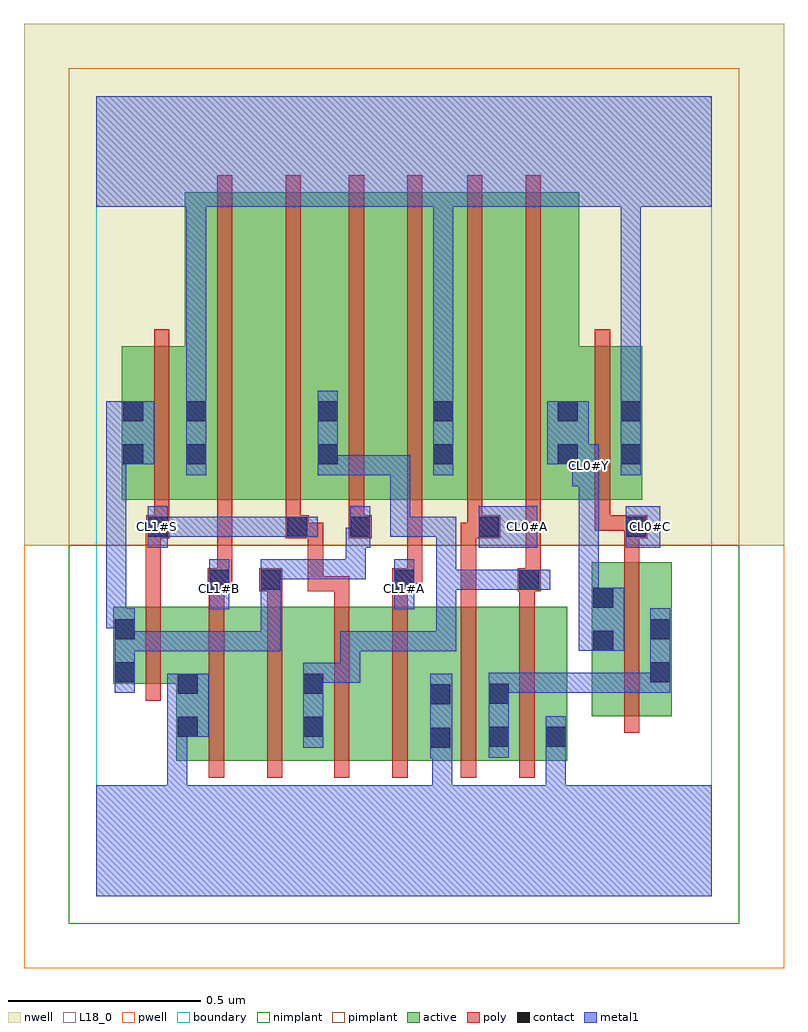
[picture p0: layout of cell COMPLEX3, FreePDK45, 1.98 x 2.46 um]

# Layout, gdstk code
import gdstk
lib = gdstk.Library(unit=1e-6, precision=1e-09)
def R(c, l, rs):  # rectangles x0, y0, x1, y1
    for r in rs: c.add(gdstk.rectangle(r[:2], r[2:], *l))
active = (1, 0)
pwell = (2, 0)
nwell = (3, 0)
nimplant = (4, 0)
pimplant = (5, 0)
poly = (9, 0)
contact = (10, 0)
metal1 = (11, 0)
L18_0 = (18, 0)
boundary = (235, 0)

complex3 = lib.new_cell('COMPLEX3')
R(complex3, active, [(0.208,0.352,0.268,0.752), (0.208,0.352,0.388,0.752), (0.388,0.352,0.594,0.752), (0.534,0.352,0.714,0.752), (0.714,0.352,0.924,0.752), (0.864,0.352,1.076,0.752), (0.864,0.352,0.924,0.554), (1.016,0.352,1.224,0.752), (1.164,0.352,1.224,0.474), (0.534,0.356,0.594,0.582), (1.016,0.356,1.076,0.556), (1.288,0.468,1.348,0.868), (1.288,0.468,1.496,0.868), (1.436,0.468,1.496,0.868), (0.044,0.552,0.104,0.752), (0.044,0.552,0.268,0.752), (0.066,1.03,0.126,1.356), (0.066,1.03,0.29,1.43), (0.23,1.03,0.436,1.83), (0.23,1.03,0.29,1.83), (0.436,1.03,0.632,1.83), (0.572,1.03,0.632,1.724), (0.572,1.03,0.752,1.83), (0.752,1.03,0.932,1.83), (0.872,1.03,1.06,1.83), (0.872,1.03,0.932,1.756), (1.06,1.03,1.256,1.83), (1.196,1.03,1.42,1.43), (1.196,1.03,1.256,1.724), (1.36,1.03,1.42,1.356)])
R(complex3, pwell, [(-0.188,-0.188,1.788,0.912)])
R(complex3, nwell, [(-0.188,0.912,1.788,2.268)])
R(complex3, nimplant, [(-0.072,-0.072,1.672,0.912)])
R(complex3, pimplant, [(-0.072,0.912,1.672,2.152)])
R(complex3, poly, [(0.292,0.308,0.332,0.796), (0.444,0.308,0.484,0.796), (0.618,0.308,0.658,0.796), (0.77,0.308,0.81,0.796), (0.948,0.308,0.988,0.796), (1.1,0.308,1.14,0.796), (1.372,0.424,1.412,0.912), (0.128,0.508,0.168,0.796), (0.128,0.756,0.168,0.97), (0.292,0.756,0.332,0.832), (0.444,0.756,0.484,0.832), (0.618,0.756,0.658,0.832), (0.77,0.756,0.81,0.832), (0.948,0.756,0.988,0.97), (1.1,0.756,1.14,0.832), (0.29,0.792,0.35,0.852), (0.424,0.792,0.484,0.852), (0.55,0.792,0.59,0.832), (0.55,0.792,0.59,0.97), (0.55,0.792,0.658,0.832), (0.618,0.792,0.658,0.832), (0.77,0.792,0.83,0.852), (1.096,0.792,1.156,0.852), (0.31,0.812,0.35,0.852), (0.31,0.812,0.354,0.852), (0.314,0.812,0.354,1.026), (0.79,0.812,0.83,0.852), (0.79,0.812,0.848,0.852), (0.808,0.812,0.848,1.026), (1.116,0.812,1.156,0.99), (1.372,0.872,1.412,0.97), (0.128,0.93,0.17,0.97), (0.13,0.93,0.17,0.97), (0.13,0.93,0.19,0.99), (0.492,0.93,0.552,0.99), (0.512,0.93,0.59,0.97), (0.55,0.93,0.59,0.97), (0.656,0.93,0.716,0.99), (0.948,0.93,1.004,0.97), (0.964,0.93,1.004,0.97), (0.964,0.93,1.05,0.99), (1.372,0.93,1.432,0.99), (0.15,0.95,0.19,1.026), (0.492,0.95,0.532,1.026), (0.656,0.95,0.696,1.026), (0.964,0.95,1.004,1.026), (1.116,0.95,1.156,1.026), (1.116,0.95,1.156,0.99), (1.296,0.95,1.336,1.026), (1.296,0.95,1.412,0.99), (1.372,0.95,1.412,0.99), (0.15,0.986,0.19,1.474), (0.314,0.986,0.354,1.874), (0.492,0.986,0.532,1.874), (0.656,0.986,0.696,1.874), (0.808,0.986,0.848,1.874), (0.964,0.986,1.004,1.874), (1.116,0.986,1.156,1.874), (1.296,0.986,1.336,1.474)])
R(complex3, contact, [(0.868,0.386,0.92,0.438), (1.02,0.388,1.072,0.44), (1.168,0.388,1.22,0.44), (0.212,0.414,0.264,0.466), (0.538,0.414,0.59,0.466), (0.868,0.498,0.92,0.55), (1.02,0.5,1.072,0.552), (0.212,0.526,0.264,0.578), (0.538,0.526,0.59,0.578), (0.048,0.556,0.1,0.608), (1.44,0.556,1.492,0.608), (1.292,0.638,1.344,0.69), (0.048,0.668,0.1,0.72), (1.44,0.668,1.492,0.72), (1.292,0.75,1.344,0.802), (0.294,0.796,0.346,0.848), (0.428,0.796,0.48,0.848), (0.774,0.796,0.826,0.848), (1.1,0.796,1.152,0.848), (0.134,0.934,0.186,0.986), (0.496,0.934,0.548,0.986), (0.66,0.934,0.712,0.986), (0.994,0.934,1.046,0.986), (1.376,0.934,1.428,0.986), (0.07,1.122,0.122,1.174), (0.234,1.122,0.286,1.174), (0.576,1.122,0.628,1.174), (0.876,1.122,0.928,1.174), (1.2,1.122,1.252,1.174), (1.364,1.122,1.416,1.174), (0.07,1.234,0.122,1.286), (0.234,1.234,0.286,1.286), (0.576,1.234,0.628,1.286), (0.876,1.234,0.928,1.286), (1.2,1.234,1.252,1.286), (1.364,1.234,1.416,1.286)])
R(complex3, metal1, [(0,0,1.6,0.288), (0.184,0.236,0.236,0.288), (0.184,0.236,0.236,0.288), (0.184,0.236,0.236,0.466), (0.874,0.236,0.926,0.288), (0.874,0.236,0.926,0.288), (0.874,0.236,0.926,0.41), (1.168,0.236,1.22,0.412), (0.868,0.358,0.926,0.578), (1.02,0.36,1.072,0.58), (1.168,0.36,1.22,0.412), (1.168,0.36,1.22,0.412), (1.168,0.36,1.22,0.468), (0.538,0.386,0.59,0.606), (0.184,0.414,0.292,0.578), (0.048,0.528,0.1,0.748), (1.02,0.528,1.072,0.58), (1.02,0.528,1.072,0.58), (1.02,0.528,1.196,0.58), (1.144,0.528,1.196,0.58), (1.144,0.528,1.196,0.58), (1.144,0.528,1.196,0.58), (1.144,0.528,1.196,0.58), (1.144,0.528,1.196,0.58), (1.144,0.528,1.492,0.58), (1.44,0.528,1.492,0.58), (1.44,0.528,1.492,0.58), (1.44,0.528,1.492,0.748), (0.538,0.554,0.686,0.606), (0.634,0.554,0.686,0.688), (0.048,0.636,0.21,0.688), (0.158,0.636,0.21,0.688), (0.158,0.636,0.21,0.688), (0.158,0.636,0.21,0.688), (0.158,0.636,0.32,0.688), (0.268,0.636,0.32,0.688), (0.268,0.636,0.48,0.688), (0.428,0.636,0.48,0.688), (0.428,0.636,0.48,0.82), (0.634,0.636,0.81,0.688), (0.758,0.636,0.81,0.688), (0.758,0.636,0.822,0.688), (0.77,0.636,0.822,0.688), (0.77,0.636,0.936,0.688), (0.884,0.636,0.936,0.688), (0.884,0.636,0.936,0.848), (1.254,0.638,1.372,0.802), (0.026,0.696,0.078,1.174), (0.026,0.696,0.1,0.748), (0.048,0.696,0.1,0.748), (0.294,0.746,0.346,0.876), (0.774,0.746,0.826,0.876), (1.254,0.75,1.306,1.118), (0.428,0.768,0.48,0.82), (0.428,0.768,0.48,0.82), (0.428,0.768,0.48,0.876), (0.884,0.796,0.936,0.848), (0.884,0.796,0.936,0.848), (0.884,0.796,0.936,0.848), (0.884,0.796,1.086,0.848), (0.884,0.796,0.936,0.986), (1.034,0.796,1.086,0.848), (1.034,0.796,1.124,0.848), (1.072,0.796,1.18,0.848), (0.428,0.824,0.7,0.876), (0.648,0.824,0.7,0.876), (0.648,0.824,0.7,0.958), (0.134,0.906,0.186,1.014), (0.648,0.906,0.7,0.958), (0.648,0.906,0.712,0.958), (0.66,0.906,0.712,1.014), (0.994,0.906,1.146,1.014), (1.376,0.906,1.466,1.014), (0.134,0.934,0.37,0.986), (0.318,0.934,0.37,0.986), (0.318,0.934,0.37,0.986), (0.318,0.934,0.37,0.986), (0.318,0.934,0.48,0.986), (0.428,0.934,0.48,0.986), (0.428,0.934,0.52,0.986), (0.468,0.934,0.576,0.986), (0.764,0.934,0.816,0.986), (0.764,0.934,0.826,0.986), (0.764,0.934,0.816,1.146), (0.774,0.934,0.826,0.986), (0.774,0.934,0.936,0.986), (0.884,0.934,0.936,0.986), (1.238,1.066,1.306,1.174), (0.234,1.094,0.286,1.314), (0.576,1.094,0.628,1.314), (0.576,1.094,0.686,1.146), (0.634,1.094,0.686,1.146), (0.634,1.094,0.816,1.146), (0.764,1.094,0.816,1.146), (0.876,1.094,0.928,1.314), (1.364,1.094,1.416,1.314), (0.026,1.122,0.078,1.174), (0.026,1.122,0.078,1.174), (0.026,1.122,0.15,1.286), (1.172,1.122,1.28,1.286), (1.228,1.122,1.28,1.174), (1.228,1.122,1.29,1.174), (1.238,1.122,1.29,1.174), (0.234,1.262,0.286,1.844), (0.876,1.262,0.928,1.844), (1.364,1.262,1.416,1.314), (1.364,1.262,1.416,1.314), (1.364,1.262,1.416,1.314), (1.364,1.262,1.416,1.314), (1.364,1.262,1.416,1.844), (0,1.792,1.6,2.08), (1.364,1.792,1.416,1.844), (1.364,1.792,1.416,1.844), (1.364,1.792,1.416,1.844), (1.364,1.792,1.416,1.844)])
R(complex3, L18_0, [(0,0,1.6,0.288), (0.184,0.236,0.236,0.288), (0.184,0.236,0.236,0.288), (0.184,0.236,0.236,0.466), (0.874,0.236,0.926,0.288), (0.874,0.236,0.926,0.288), (0.874,0.236,0.926,0.41), (1.168,0.236,1.22,0.412), (0.868,0.358,0.926,0.578), (1.168,0.36,1.22,0.468), (1.168,0.36,1.22,0.412), (1.168,0.36,1.22,0.412), (0.184,0.414,0.292,0.578), (1.254,0.638,1.372,0.802), (0.294,0.746,0.346,0.876), (0.774,0.746,0.826,0.876), (1.254,0.75,1.306,1.118), (0.294,0.774,0.346,0.826), (0.774,0.774,0.826,0.826), (0.134,0.906,0.186,1.014), (0.994,0.906,1.146,1.014), (1.376,0.906,1.466,1.014), (0.134,0.934,0.186,0.986), (0.134,0.934,0.37,0.986), (0.318,0.934,0.37,0.986), (0.318,0.934,0.37,0.986), (0.318,0.934,0.37,0.986), (0.318,0.934,0.48,0.986), (0.428,0.934,0.48,0.986), (0.428,0.934,0.52,0.986), (0.468,0.934,0.576,0.986), (1.094,0.934,1.146,0.986), (1.414,0.934,1.466,0.986), (1.238,1.066,1.306,1.174), (0.234,1.094,0.286,1.314), (0.876,1.094,0.928,1.314), (1.254,1.094,1.306,1.146), (1.364,1.094,1.416,1.314), (1.172,1.122,1.28,1.286), (1.228,1.122,1.28,1.174), (1.228,1.122,1.29,1.174), (1.238,1.122,1.29,1.174), (0.234,1.262,0.286,1.844), (0.876,1.262,0.928,1.844), (1.364,1.262,1.416,1.314), (1.364,1.262,1.416,1.314), (1.364,1.262,1.416,1.314), (1.364,1.262,1.416,1.314), (1.364,1.262,1.416,1.844), (0,1.792,1.6,2.08), (1.364,1.792,1.416,1.844), (1.364,1.792,1.416,1.844), (1.364,1.792,1.416,1.844), (1.364,1.792,1.416,1.844)])
R(complex3, boundary, [(0,0,1.6,2.08)])
complex3.add(gdstk.Label('CL0#A', (1.12,0.96), layer=11, texttype=0))
complex3.add(gdstk.Label('CL0#C', (1.44,0.96), layer=11, texttype=0))
complex3.add(gdstk.Label('CL0#Y', (1.28,1.12), layer=11, texttype=0))
complex3.add(gdstk.Label('CL1#A', (0.8,0.8), layer=11, texttype=0))
complex3.add(gdstk.Label('CL1#B', (0.32,0.8), layer=11, texttype=0))
complex3.add(gdstk.Label('CL1#S', (0.16,0.96), layer=11, texttype=0))

lib.write_gds('COMPLEX3.gds')
